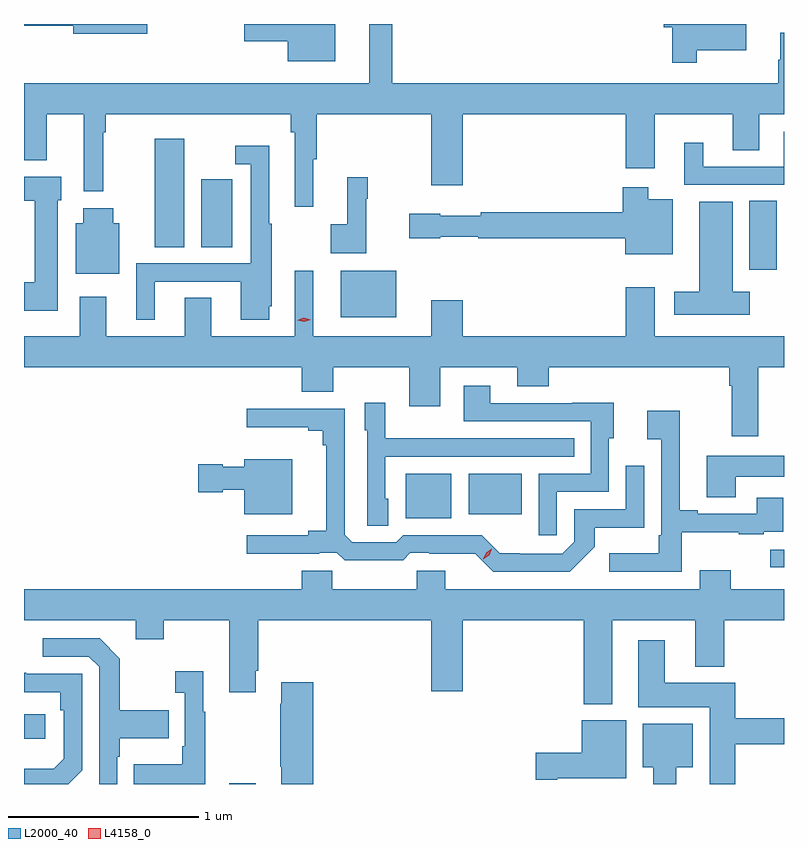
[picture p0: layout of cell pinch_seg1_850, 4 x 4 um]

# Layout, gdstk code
import gdstk
lib = gdstk.Library(unit=1e-6, precision=1e-09)
def R(c, l, rs):  # rectangles x0, y0, x1, y1
    for r in rs: c.add(gdstk.rectangle(r[:2], r[2:], *l))
def P(c, l, *ps):  # polygons
    for p in ps: c.add(gdstk.Polygon(p, *l))
L2000_40 = (2000, 40)
L4158_0 = (4158, 0)

pinch_seg1_850 = lib.new_cell('pinch_seg1_850')
R(pinch_seg1_850, L2000_40, [(463.643,516.239,463.783,516.244), (462.564,516.476,462.676,516.606), (466.491,517.379,466.564,517.473), (464.573,517.637,464.812,517.873), (464.906,517.658,465.184,517.873), (464.231,518.696,464.524,518.941), (466.382,518.946,466.525,519.308), (463.253,519.064,463.408,519.634), (463.496,519.064,463.66,519.421)])
P(pinch_seg1_850, L2000_40, [(463.213,520.239),(462.564,520.239),(462.564,520.23),(462.824,520.23),(462.824,520.187),(463.213,520.187)],
  [(464.503,520.239),(464.381,520.239),(464.381,519.928),(462.564,519.928),(462.564,519.521),(462.685,519.521),(462.685,519.764),(462.878,519.764),(462.878,519.36),(462.98,519.36),(462.98,519.668),(462.995,519.668),(462.995,519.764),(463.969,519.764),(463.969,519.668),(463.988,519.668),(463.988,519.276),(464.087,519.276),(464.087,519.528),(464.105,519.528),(464.105,519.764),(464.708,519.764),(464.708,519.39),(464.872,519.39),(464.872,519.764),(465.731,519.764),(465.731,519.48),(465.883,519.48),(465.883,519.764),(466.295,519.764),(466.295,519.574),(466.435,519.574),(466.435,519.764),(466.564,519.764),(466.564,520.192),(466.544,520.192),(466.544,520.052),(466.533,520.052),(466.533,519.928),(464.503,519.928)],
  [(464.203,520.239),(463.722,520.239),(463.722,520.148),(463.952,520.148),(463.952,520.043),(464.203,520.043)],
  [(466.105,520.1),(466.366,520.1),(466.366,520.239),(465.932,520.239),(465.932,520.222),(465.976,520.222),(465.976,520.035),(466.105,520.035)],
  [(466.564,519.673),(466.562,519.673),(466.562,519.489),(466.138,519.489),(466.138,519.613),(466.04,519.613),(466.04,519.393),(466.564,519.393)],
  [(463.252,518.883),(463.706,518.883),(463.706,518.682),(463.855,518.682),(463.855,518.754),(463.867,518.754),(463.867,519.188),(463.855,519.188),(463.855,519.598),(463.677,519.598),(463.677,519.501),(463.758,519.501),(463.758,518.979),(463.154,518.979),(463.154,518.682),(463.252,518.682)],
  [(462.742,519.312),(462.76,519.312),(462.76,519.436),(462.564,519.436),(462.564,519.308),(462.62,519.308),(462.62,518.881),(462.564,518.881),(462.564,518.729),(462.742,518.729)],
  [(464.364,519.32),(464.374,519.32),(464.374,519.433),(464.264,519.433),(464.264,519.185),(464.178,519.185),(464.178,519.032),(464.364,519.032)],
  [(465.979,519.316),(465.85,519.316),(465.85,519.379),(465.716,519.379),(465.716,519.248),(464.968,519.248),(464.968,519.229),(464.754,519.229),(464.754,519.241),(464.592,519.241),(464.592,519.112),(464.754,519.112),(464.754,519.12),(464.954,519.12),(464.954,519.112),(465.728,519.112),(465.728,519.026),(465.979,519.026)],
  [(466.384,518.83),(466.294,518.83),(466.294,519.304),(466.118,519.304),(466.118,518.83),(465.987,518.83),(465.987,518.708),(466.384,518.708)],
  [(463.066,519.19),(463.033,519.19),(463.033,519.268),(462.875,519.268),(462.875,519.19),(462.836,519.19),(462.836,518.924),(463.066,518.924)],
  [(466.429,518.432),(466.564,518.432),(466.564,518.596),(465.883,518.596),(465.883,518.854),(465.731,518.854),(465.731,518.596),(464.872,518.596),(464.872,518.785),(464.708,518.785),(464.708,518.596),(464.086,518.596),(464.086,518.941),(463.989,518.941),(463.989,518.596),(463.549,518.596),(463.549,518.798),(463.409,518.798),(463.409,518.596),(462.997,518.596),(462.997,518.803),(462.857,518.803),(462.857,518.596),(462.564,518.596),(462.564,518.432),(464.027,518.432),(464.027,518.304),(464.191,518.304),(464.191,518.432),(464.591,518.432),(464.591,518.226),(464.755,518.226),(464.755,518.432),(465.161,518.432),(465.161,518.333),(465.325,518.333),(465.325,518.432),(466.277,518.432),(466.277,518.336),(466.289,518.336),(466.289,518.07),(466.429,518.07)],
  [(465.369,517.776),(465.642,517.776),(465.642,518.058),(465.667,518.058),(465.667,518.246),(465.449,518.246),(465.449,518.244),(465.019,518.244),(465.019,518.335),(464.879,518.335),(464.879,518.148),(465.546,518.148),(465.546,517.872),(465.273,517.872),(465.273,517.548),(465.369,517.548)],
  [(464.482,517.74),(464.466,517.74),(464.466,517.962),(465.461,517.962),(465.461,518.058),(464.783,518.058),(464.783,518.059),(464.466,518.059),(464.466,518.245),(464.357,518.245),(464.357,518.1),(464.37,518.1),(464.37,517.597),(464.482,517.597)],
  [(465.567,517.487),(465.567,517.589),(465.828,517.589),(465.828,517.915),(465.732,517.915),(465.732,517.686),(465.459,517.686),(465.459,517.515),(465.396,517.452),(465.172,517.452),(465.172,517.454),(465.068,517.454),(464.973,517.548),(464.559,517.548),(464.523,517.512),(464.292,517.512),(464.253,517.551),(464.253,518.214),(463.737,518.214),(463.737,518.117),(464.06,518.117),(464.06,518.098),(464.137,518.098),(464.137,518.021),(464.156,518.021),(464.156,517.571),(464.06,517.571),(464.06,517.548),(463.737,517.548),(463.737,517.451),(464.117,517.451),(464.117,517.455),(464.211,517.455),(464.251,517.416),(464.559,517.416),(464.598,517.455),(464.698,517.455),(464.698,517.451),(464.939,517.451),(465.033,517.356),(465.436,517.356)],
  [(466.027,517.565),(466.325,517.565),(466.325,517.554),(466.457,517.554),(466.457,517.566),(466.561,517.566),(466.561,517.746),(466.421,517.746),(466.421,517.662),(466.111,517.662),(466.111,517.681),(466.015,517.681),(466.015,518.203),(465.843,518.203),(465.843,518.054),(465.918,518.054),(465.918,517.549),(465.906,517.549),(465.906,517.453),(465.645,517.453),(465.645,517.356),(466.027,517.356)],
  [(466.309,517.856),(466.564,517.856),(466.564,517.966),(466.157,517.966),(466.157,517.747),(466.309,517.747)],
  [(463.975,517.948),(463.724,517.948),(463.724,517.909),(463.611,517.909),(463.611,517.922),(463.482,517.922),(463.482,517.775),(463.611,517.775),(463.611,517.787),(463.724,517.787),(463.724,517.658),(463.975,517.658)],
  [(465.661,517.1),(466.097,517.1),(466.097,516.857),(466.25,516.857),(466.25,517.1),(466.564,517.1),(466.564,517.264),(466.285,517.264),(466.285,517.363),(466.121,517.363),(466.121,517.264),(464.782,517.264),(464.782,517.362),(464.632,517.362),(464.632,517.264),(464.187,517.264),(464.187,517.362),(464.027,517.362),(464.027,517.264),(462.564,517.264),(462.564,517.1),(463.151,517.1),(463.151,517.001),(463.299,517.001),(463.299,517.1),(463.643,517.1),(463.643,516.722),(463.783,516.722),(463.783,516.835),(463.796,516.835),(463.796,517.1),(464.708,517.1),(464.708,516.726),(464.872,516.726),(464.872,517.1),(465.509,517.1),(465.509,516.659),(465.661,516.659)],
  [(463.056,516.383),(463.069,516.383),(463.069,516.479),(463.325,516.479),(463.325,516.627),(463.069,516.627),(463.069,516.899),(462.963,517.005),(462.663,517.005),(462.663,516.909),(462.906,516.909),(462.96,516.855),(462.96,516.239),(463.056,516.239)],
  [(466.307,516.448),(466.564,516.448),(466.564,516.584),(466.307,516.584),(466.307,516.772),(465.937,516.772),(465.937,516.996),(465.797,516.996),(465.797,516.644),(466.172,516.644),(466.172,516.239),(466.307,516.239)],
  [(463.519,516.619),(463.507,516.619),(463.507,516.832),(463.359,516.832),(463.359,516.719),(463.41,516.719),(463.41,516.439),(463.398,516.439),(463.398,516.343),(463.141,516.343),(463.141,516.239),(463.519,516.239)],
  [(462.87,516.312),(462.87,516.819),(462.575,516.819),(462.575,516.824),(462.564,516.824),(462.564,516.723),(462.754,516.723),(462.754,516.626),(462.774,516.626),(462.774,516.372),(462.721,516.319),(462.564,516.319),(462.564,516.239),(462.797,516.239)],
  [(464.087,516.775),(463.919,516.775),(463.919,516.662),(463.912,516.662),(463.912,516.331),(463.919,516.331),(463.919,516.239),(464.087,516.239)],
  [(465.37,516.269),(465.733,516.269),(465.733,516.574),(465.5,516.574),(465.5,516.404),(465.258,516.404),(465.258,516.262),(465.37,516.262)],
  [(465.997,516.326),(466.084,516.326),(466.084,516.556),(465.821,516.556),(465.821,516.326),(465.875,516.326),(465.875,516.239),(465.997,516.239)])
P(pinch_seg1_850, L4158_0, [(464.981,517.422),(464.981,517.422),(464.996,517.456),(465.027,517.477),(465.027,517.477),(465.027,517.477),(465.012,517.443),(464.981,517.422)],
  [(464.038,518.672),(464.003,518.681),(464.003,518.681),(464.003,518.681),(464.037,518.692),(464.072,518.683),(464.072,518.683),(464.072,518.683)])

lib.write_gds('pinch_seg1_850.gds')
